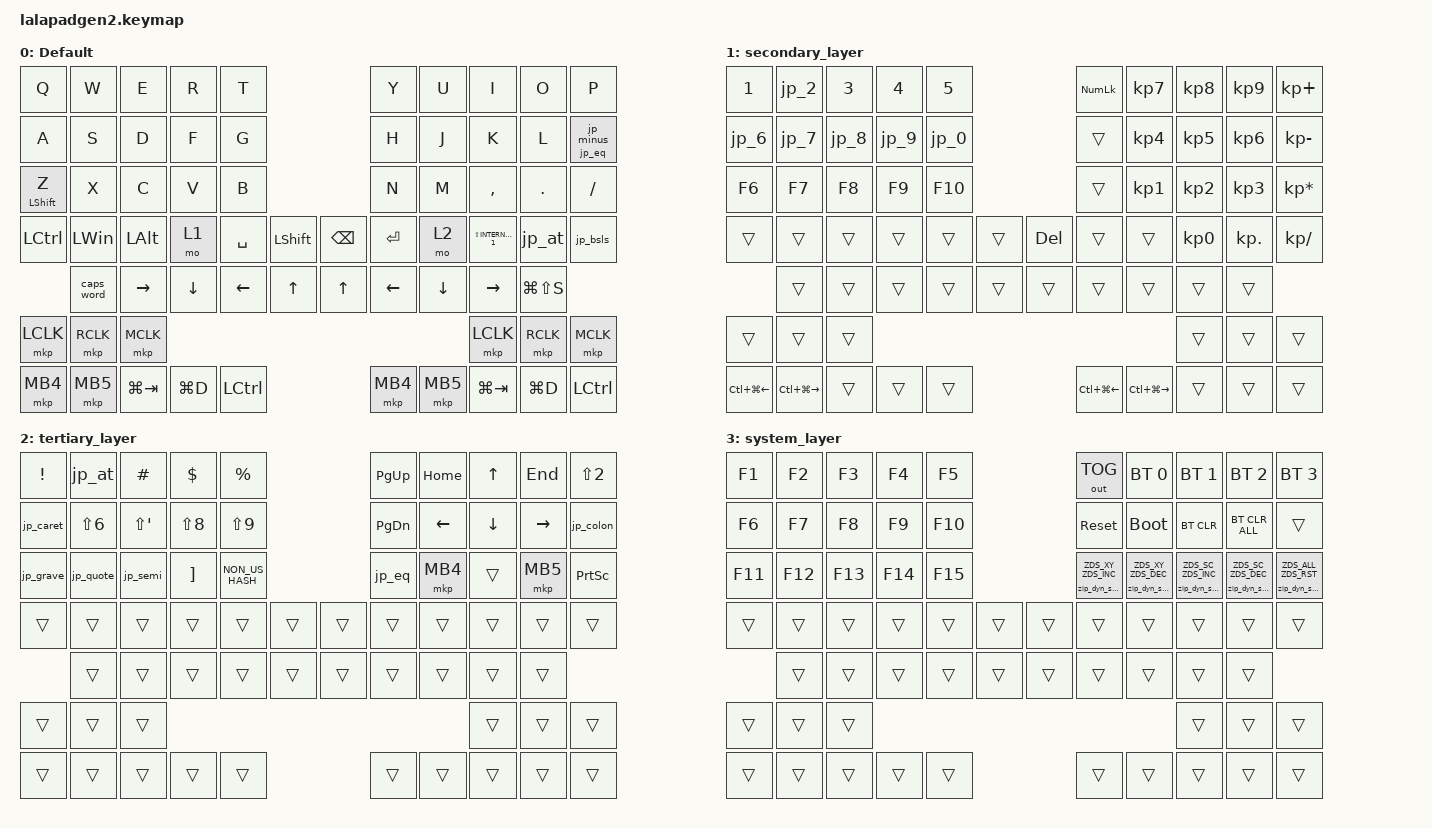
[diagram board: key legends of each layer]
/*
 * LaLaPadGen2 keymap カスタム案（JIS 版）
 * ベース: ShiniNet/zmk-config-LalaPadGen2 のデフォルトキーマップ
 * ★ = デフォルトからの変更点
 * 前提: Windows 側のキーボード配列が JIS（日本語キーボード 106/109 キー）のまま
 *       US 版と同じ位置で同じ文字が出るように、記号だけ JIS 用のキーコードに置き換えてある
 *       （Shift を押したときの文字も US 版と同じ）
 * 使い方: リポジトリには config/lalapadgen2.keymap という名前で置くこと
 */

#include <input/processors.dtsi>
#include <dt-bindings/zmk/zip_dynamic_scale.h>
#include <behaviors.dtsi>
#include <dt-bindings/zmk/bt.h>
#include <dt-bindings/zmk/keys.h>
#include <dt-bindings/zmk/outputs.h>
#include <dt-bindings/zmk/pointing.h>

#define DEFAULT_LAYER   0
#define SECONDARY_LAYER 1
#define TERTIARY_LAYER  2
#define SYSTEM_LAYER    3

&mt { quick-tap-ms = <200>; };

&lt { quick-tap-ms = <200>; };

// ★JIS 版: Caps Word 中に _ を打っても途切れないようにする（JIS の _ は Shift＋ろ キー）
&caps_word { continue-list = <LS(INTERNATIONAL_1) BACKSPACE DELETE>; };

/ {
    behaviors {
        zip_dyn_scale: zip_dyn_scale {
            compatible = "zmk,behavior-zip-dynamic-scale";
            #binding-cells = <2>;
        };

        zip_dyn_scale_set: zip_dyn_scale_set {
            compatible = "zmk,behavior-zip-dynamic-scale-set";
            #binding-cells = <2>;
        };

        mt2: mod_tap2 {
            compatible = "zmk,behavior-hold-tap";
            #binding-cells = <2>;
            flavor = "tap-preferred";
            tapping-term-ms = <200>;
            quick-tap-ms = <200>;
            require-prior-idle-ms = <125>;
            bindings = <&kp>, <&kp>;
        };

        // ★JIS 版: ベースの - キー用。mt2 と同じタイミングで、タップ = -、長押し = =
        //   中身は下の変換（jp_minus / jp_eq）なので、Shift 時は _ と + になる
        //   使うときは &mt2_jp 0 0（0 はダミー）
        mt2_jp: mod_tap2_jp {
            compatible = "zmk,behavior-hold-tap";
            #binding-cells = <2>;
            flavor = "tap-preferred";
            tapping-term-ms = <200>;
            quick-tap-ms = <200>;
            require-prior-idle-ms = <125>;
            bindings = <&jp_eq>, <&jp_minus>;
        };

        tap_dance_layer_1and2: tap_dance_layer_1and2 {
            compatible = "zmk,behavior-tap-dance";
            label = "td_mo12";
            #binding-cells = <0>;
            bindings = <&mo 1>, <&mo 2>;
        };

        // ===== ★JIS 版: US 版と同じ文字を出すための変換 =====
        // bindings の左が通常時、右が Shift を押しているとき（Shift は外してから送る）

        // -   Shift で _
        jp_minus: jp_minus {
            compatible = "zmk,behavior-mod-morph";
            #binding-cells = <0>;
            bindings = <&kp MINUS>, <&kp LS(INTERNATIONAL_1)>;
            mods = <(MOD_LSFT|MOD_RSFT)>;
        };

        // =   Shift で +
        jp_eq: jp_eq {
            compatible = "zmk,behavior-mod-morph";
            #binding-cells = <0>;
            bindings = <&kp LS(MINUS)>, <&kp LS(SEMICOLON)>;
            mods = <(MOD_LSFT|MOD_RSFT)>;
        };

        // @   Shift でも @
        jp_at: jp_at {
            compatible = "zmk,behavior-mod-morph";
            #binding-cells = <0>;
            bindings = <&kp LEFT_BRACKET>, <&kp LEFT_BRACKET>;
            mods = <(MOD_LSFT|MOD_RSFT)>;
        };

        // ^   Shift でも ^
        jp_caret: jp_caret {
            compatible = "zmk,behavior-mod-morph";
            #binding-cells = <0>;
            bindings = <&kp EQUAL>, <&kp EQUAL>;
            mods = <(MOD_LSFT|MOD_RSFT)>;
        };

        // `   Shift で ~
        jp_grave: jp_grave {
            compatible = "zmk,behavior-mod-morph";
            #binding-cells = <0>;
            bindings = <&kp LS(LEFT_BRACKET)>, <&kp LS(EQUAL)>;
            mods = <(MOD_LSFT|MOD_RSFT)>;
        };

        // '   Shift で "
        jp_quote: jp_quote {
            compatible = "zmk,behavior-mod-morph";
            #binding-cells = <0>;
            bindings = <&kp LS(N7)>, <&kp LS(N2)>;
            mods = <(MOD_LSFT|MOD_RSFT)>;
        };

        // ;   Shift で :
        jp_semi: jp_semi {
            compatible = "zmk,behavior-mod-morph";
            #binding-cells = <0>;
            bindings = <&kp SEMICOLON>, <&kp APOSTROPHE>;
            mods = <(MOD_LSFT|MOD_RSFT)>;
        };

        // :   Shift でも :
        jp_colon: jp_colon {
            compatible = "zmk,behavior-mod-morph";
            #binding-cells = <0>;
            bindings = <&kp APOSTROPHE>, <&kp APOSTROPHE>;
            mods = <(MOD_LSFT|MOD_RSFT)>;
        };

        // \   Shift で |
        jp_bsls: jp_bsls {
            compatible = "zmk,behavior-mod-morph";
            #binding-cells = <0>;
            bindings = <&kp INTERNATIONAL_1>, <&kp LS(INTERNATIONAL_3)>;
            mods = <(MOD_LSFT|MOD_RSFT)>;
        };

        // 2   Shift で @
        jp_2: jp_2 {
            compatible = "zmk,behavior-mod-morph";
            #binding-cells = <0>;
            bindings = <&kp N2>, <&kp LEFT_BRACKET>;
            mods = <(MOD_LSFT|MOD_RSFT)>;
        };

        // 6   Shift で ^
        jp_6: jp_6 {
            compatible = "zmk,behavior-mod-morph";
            #binding-cells = <0>;
            bindings = <&kp N6>, <&kp EQUAL>;
            mods = <(MOD_LSFT|MOD_RSFT)>;
        };

        // 7   Shift で &
        jp_7: jp_7 {
            compatible = "zmk,behavior-mod-morph";
            #binding-cells = <0>;
            bindings = <&kp N7>, <&kp LS(N6)>;
            mods = <(MOD_LSFT|MOD_RSFT)>;
        };

        // 8   Shift で *
        jp_8: jp_8 {
            compatible = "zmk,behavior-mod-morph";
            #binding-cells = <0>;
            bindings = <&kp N8>, <&kp LS(APOSTROPHE)>;
            mods = <(MOD_LSFT|MOD_RSFT)>;
        };

        // 9   Shift で (
        jp_9: jp_9 {
            compatible = "zmk,behavior-mod-morph";
            #binding-cells = <0>;
            bindings = <&kp N9>, <&kp LS(N8)>;
            mods = <(MOD_LSFT|MOD_RSFT)>;
        };

        // 0   Shift で )
        jp_0: jp_0 {
            compatible = "zmk,behavior-mod-morph";
            #binding-cells = <0>;
            bindings = <&kp N0>, <&kp LS(N9)>;
            mods = <(MOD_LSFT|MOD_RSFT)>;
        };
    };

    combos {
        compatible = "zmk,combos";

        // ★変更: Esc（Q＋W）と Tab（A＋S）はベースレイヤーでだけ有効
        //   （L1 中に 1＋2 や 6＋7 を速く打ったとき Esc/Tab に化けないように）
        CONBO_ESC {
            bindings = <&kp ESCAPE>;
            key-positions = <0 1>;
            layers = <0>;
        };

        COMBO_TAB {
            bindings = <&kp TAB>;
            key-positions = <10 11>;
            layers = <0>;
        };

        // ★変更: 英数/かなは人差し指の同時押し（薙刀式と同じ組み合わせ）
        //   F＋G → 英数 / H＋J → かな。人差し指1本で2つのキーの境目を押す
        //   同じ指で打つ2キーなので、普通の打鍵中に両方が同時に押されることはまず無い
        //   失敗しても f / g / h / j のどれかが1文字入るだけ
        //   timeout-ms : 2キーがこの時間内に揃ったら同時押し扱い
        //                押したのに切り替わらないことが多いなら 50〜60、勝手に切り替わるなら 30 に
        //   勝手に切り替わる場合は require-prior-idle-ms = <100>; を足すと、打鍵の直後は発動しなくなる
        //   layers     : ベースレイヤーでだけ有効
        COMBO_EISU {
            bindings = <&kp LANGUAGE_2>;
            key-positions = <13 14>;
            timeout-ms = <40>;
            layers = <0>;
        };

        COMBO_KANA {
            bindings = <&kp LANGUAGE_1>;
            key-positions = <15 16>;
            timeout-ms = <40>;
            layers = <0>;
        };
    };

    keymap {
        compatible = "zmk,keymap";

        // ★ベースの変更点
        //   英数/かな → F＋G / H＋J の同時押しコンボへ（combos の COMBO_EISU / COMBO_KANA）。L1/L2 キー自体は元のまま
        //   右下段（旧 英数・かな）→ _ と @
        //   左 5Way 押し込み（旧 none）→ Caps Word
        //   右 5Way 押し込み（旧 none）→ Win+Shift+S（範囲スクショ）
        //   JIS 版: - キー、_、@、\ を JIS 用に置き換え
        DEFAULT_LAYER {
            display-name = "Default";
            bindings = <
&kp Q              &kp W       &kp E         &kp R                 &kp T                                     &kp Y      &kp U     &kp I                 &kp O                    &kp P
&kp A              &kp S       &kp D         &kp F                 &kp G                                     &kp H      &kp J     &kp K                 &kp L                    &mt2_jp 0 0
&mt2 LEFT_SHIFT Z  &kp X       &kp C         &kp V                 &kp B                                     &kp N      &kp M     &kp COMMA             &kp PERIOD               &kp SLASH
&kp LCTRL          &kp LWIN    &kp LEFT_ALT  &mo 1                 &kp SPACE  &kp LEFT_SHIFT  &kp BACKSPACE  &kp ENTER  &mo 2                 &kp LS(INTERNATIONAL_1)  &jp_at           &jp_bsls
                   &caps_word  &kp RIGHT     &kp DOWN              &kp LEFT   &kp UP          &kp UP         &kp LEFT   &kp DOWN  &kp RIGHT             &kp LG(LS(S))
&mkp LCLK          &mkp RCLK   &mkp MCLK                                                                                                              &mkp LCLK                &mkp RCLK        &mkp MCLK
&mkp MB4           &mkp MB5    &kp LG(TAB)   &kp LG(D)             &kp LCTRL                                 &mkp MB4   &mkp MB5  &kp LG(TAB)           &kp LG(D)                &kp LCTRL
            >;
        };

        // JIS 版: Shift＋数字で出る記号を US 版と揃えるため、2/6/7/8/9/0 を変換に置き換え
        SECONDARY_LAYER {
            display-name = "secondary_layer";
            bindings = <
&kp NUMBER_1      &jp_2              &kp NUMBER_3  &kp NUMBER_4  &kp N5                    &kp KP_NUMLOCK    &kp KP_NUMBER_7    &kp KP_NUMBER_8  &kp KP_NUMBER_9  &kp KP_PLUS
&jp_6             &jp_7              &jp_8         &jp_9         &jp_0                     &trans            &kp KP_NUMBER_4    &kp KP_NUMBER_5  &kp KP_NUMBER_6  &kp KP_MINUS
&kp F6            &kp F7             &kp F8        &kp F9        &kp F10                   &trans            &kp KP_NUMBER_1    &kp KP_NUMBER_2  &kp KP_NUMBER_3  &kp KP_ASTERISK
&trans            &trans             &trans        &trans        &trans   &trans  &kp DEL  &trans            &trans             &kp KP_NUMBER_0  &kp KP_DOT       &kp KP_DIVIDE
                  &trans             &trans        &trans        &trans   &trans  &trans   &trans            &trans             &trans           &trans
&trans            &trans             &trans                                                                                     &trans           &trans           &trans
&kp LC(LG(LEFT))  &kp LC(LG(RIGHT))  &trans        &trans        &trans                    &kp LC(LG(LEFT))  &kp LC(LG(RIGHT))  &trans           &trans           &trans
            >;
        };

        // ★L2 の変更点（Shift 込みで3キー同時押しだった記号を2キーに）
        //   P 位置 : PrtSc       → "
        //   - 位置 : ScrollLock  → :
        //   N 位置 : (透過)      → =
        //   / 位置 : Pause       → PrtSc（P 位置から移動）
        //   JIS 版: 記号はすべて JIS 用のキーコードか変換（jp_*）に置き換え
        TERTIARY_LAYER {
            display-name = "tertiary_layer";
            bindings = <
&kp EXCLAMATION  &jp_at          &kp HASH      &kp DOLLAR         &kp PERCENT                            &kp PAGE_UP    &kp HOME  &kp UP_ARROW    &kp END    &kp LS(N2)
&jp_caret        &kp LS(N6)      &kp LS(SQT)   &kp LS(N8)         &kp LS(N9)                             &kp PAGE_DOWN  &kp LEFT  &kp DOWN_ARROW  &kp RIGHT  &jp_colon
&jp_grave        &jp_quote       &jp_semi      &kp RIGHT_BRACKET  &kp NON_US_HASH                        &jp_eq         &mkp MB4  &trans          &mkp MB5   &kp PRINTSCREEN
&trans           &trans          &trans        &trans             &trans                 &trans  &trans  &trans         &trans    &trans          &trans     &trans
                 &trans          &trans        &trans             &trans                 &trans  &trans  &trans         &trans    &trans          &trans
&trans           &trans          &trans                                                                                           &trans          &trans     &trans
&trans           &trans          &trans        &trans             &trans                                 &trans         &trans    &trans          &trans     &trans
            >;
        };

        SYSTEM_LAYER {
            display-name = "system_layer";
            bindings = <
&kp F1   &kp F2   &kp F3   &kp F4   &kp F5                   &out OUT_TOG                   &bt BT_SEL 0                   &bt BT_SEL 1                   &bt BT_SEL 2                   &bt BT_SEL 3
&kp F6   &kp F7   &kp F8   &kp F9   &kp F10                  &sys_reset                     &bootloader                    &bt BT_CLR                     &bt BT_CLR_ALL                 &trans
&kp F11  &kp F12  &kp F13  &kp F14  &kp F15                  &zip_dyn_scale ZDS_XY ZDS_INC  &zip_dyn_scale ZDS_XY ZDS_DEC  &zip_dyn_scale ZDS_SC ZDS_INC  &zip_dyn_scale ZDS_SC ZDS_DEC  &zip_dyn_scale ZDS_ALL ZDS_RST
&trans   &trans   &trans   &trans   &trans   &trans  &trans  &trans                         &trans                         &trans                         &trans                         &trans
         &trans   &trans   &trans   &trans   &trans  &trans  &trans                         &trans                         &trans                         &trans
&trans   &trans   &trans                                                                                                   &trans                         &trans                         &trans
&trans   &trans   &trans   &trans   &trans                   &trans                         &trans                         &trans                         &trans                         &trans
            >;
        };
    };

    conditional_layers {
        compatible = "zmk,conditional-layers";

        Cond_Syslayer {
            if-layers = <1 2>;
            then-layer = <3>;
        };
    };
};
